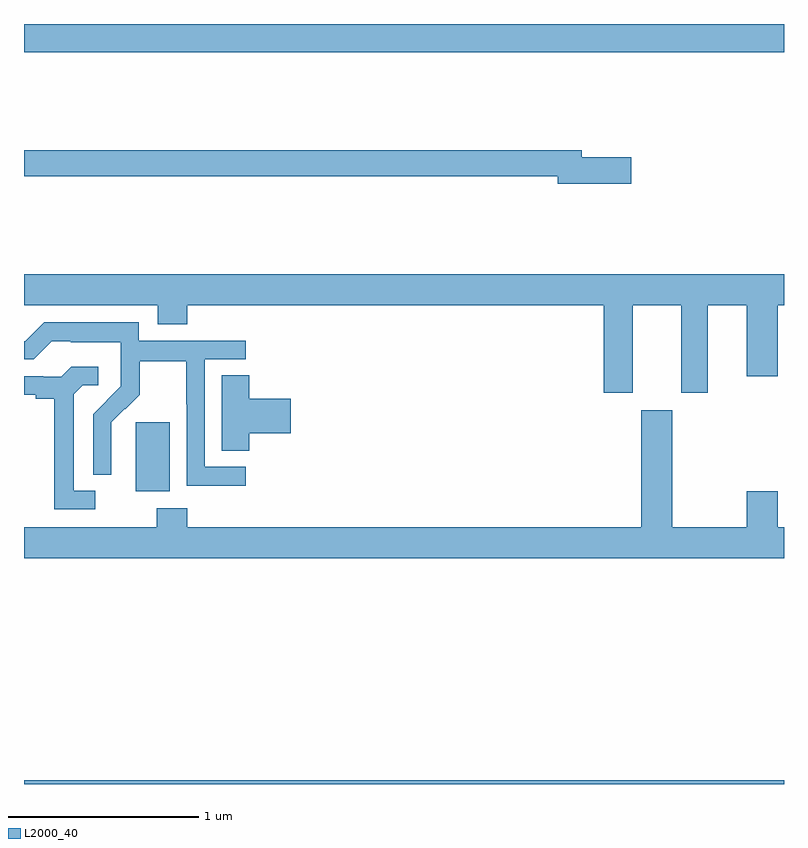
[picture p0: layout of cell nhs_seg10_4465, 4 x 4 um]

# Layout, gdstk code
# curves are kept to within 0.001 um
import gdstk
lib = gdstk.Library(unit=1e-6, precision=1e-09)
def R(c, l, rs):  # rectangles x0, y0, x1, y1
    for r in rs: c.add(gdstk.rectangle(r[:2], r[2:], *l))
def P(c, l, *ps):  # polygons
    for p in ps: c.add(gdstk.Polygon(p, *l))
L2000_40 = (2000, 40)

nhs_seg10_4465 = lib.new_cell('nhs_seg10_4465')
R(nhs_seg10_4465, L2000_40, [(365,1260.5,369,1260.52), (365.588,1262.042,365.767,1262.403), (365,1264.352,369,1264.5)])
P(nhs_seg10_4465, L2000_40, [(368.197,1263.8),(367.936,1263.8),(367.936,1263.836),(365,1263.836),(365,1263.7),(367.808,1263.7),(367.808,1263.658),(368.197,1263.658)],
  [(368.203,1263.02),(368.459,1263.02),(368.459,1262.559),(368.599,1262.559),(368.599,1263.02),(368.804,1263.02),(368.804,1262.646),(368.968,1262.646),(368.968,1263.02),(369,1263.02),(369,1263.184),(365,1263.184),(365,1263.02),(365.705,1263.02),(365.705,1262.921),(365.858,1262.921),(365.858,1263.02),(368.051,1263.02),(368.051,1262.559),(368.203,1262.559)],
  [(366.166,1262.169),(365.952,1262.169),(365.952,1262.736),(366.166,1262.736),(366.166,1262.832),(365.604,1262.832),(365.604,1262.929),(365.107,1262.929),(365.007,1262.829),(365,1262.829),(365,1262.736),(365.052,1262.736),(365.145,1262.829),(365.245,1262.829),(365.245,1262.825),(365.508,1262.825),(365.508,1262.691),(365.51,1262.691),(365.51,1262.594),(365.364,1262.446),(365.364,1262.128),(365.46,1262.128),(365.459,1262.405),(365.529,1262.475),(365.532,1262.472),(365.609,1262.549),(365.609,1262.724),(365.854,1262.724),(365.854,1262.5),(365.856,1262.5),(365.856,1262.071),(366.166,1262.071)],
  [(365.374,1262.043),(365.263,1262.043),(365.263,1262.551),(365.31,1262.598),(365.392,1262.598),(365.392,1262.695),(365.248,1262.695),(365.196,1262.643),(365.102,1262.643),(365.102,1262.646),(365,1262.646),(365,1262.55),(365.063,1262.55),(365.063,1262.528),(365.159,1262.528),(365.159,1261.947),(365.374,1261.947)],
  [(366.185,1262.345),(366.403,1262.345),(366.403,1262.528),(366.185,1262.528),(366.185,1262.651),(366.041,1262.651),(366.041,1262.254),(366.185,1262.254)],
  [(369,1261.852),(368.968,1261.852),(368.968,1262.041),(368.804,1262.041),(368.804,1261.852),(368.413,1261.852),(368.413,1262.467),(368.249,1262.467),(368.249,1261.852),(365.858,1261.852),(365.858,1261.951),(365.698,1261.951),(365.698,1261.852),(365,1261.852),(365,1261.688),(369,1261.688)])

lib.write_gds('nhs_seg10_4465.gds')
